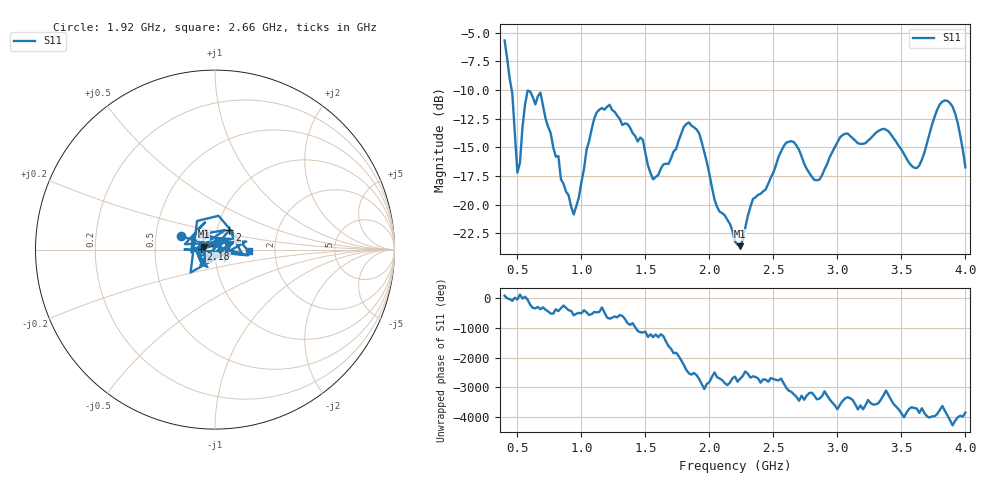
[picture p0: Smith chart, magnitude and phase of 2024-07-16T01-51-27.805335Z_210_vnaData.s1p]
!Created with skrf (http://scikit-rf.org).
# Hz S RI R 50.0
!freq ReS11 ImS11
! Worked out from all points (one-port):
!   181 points, 400 MHz to 4 GHz, reference 50 ohm
!   lowest |S11| = -23.6 dB at 2.24 GHz (marker M1), VSWR 1.14, Z = 44 + j1.43 ohm
!   |S11| at or under -10 dB: 455.5 MHz to end of sweep
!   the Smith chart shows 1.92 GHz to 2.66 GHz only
!   S11 on the Smith chart (normalised r, x): 1.92 GHz: 0.67, +0.10; 2 GHz: 1.14, +0.26; 2.18 GHz: 0.86, +0.00; 2.66 GHz: 1.46, -0.03
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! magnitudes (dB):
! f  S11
! 400 MHz  -5.7
! 460 MHz  -10.3
! 500 MHz  -17.2
! 580 MHz  -10.0
! 680 MHz  -10.2
! 860 MHz  -18.2
! 940 MHz  -20.8
! 1.12 GHz  -12.0
! 1.3 GHz  -12.5
! 1.48 GHz  -14.3
! 1.56 GHz  -17.8
! 1.76 GHz  -14.4
! 1.84 GHz  -12.8
! 1.92 GHz  -13.8
! 2 GHz  -17.3
! 2.18 GHz  -22.3
! 2.2 GHz  -23.2
! 2.24 GHz  -23.6
! 2.34 GHz  -19.5
! 2.66 GHz  -14.5
! 2.84 GHz  -17.9
! 3.1 GHz  -14.0
! 3.38 GHz  -13.5
! 3.56 GHz  -16.3
! 3.64 GHz  -16.6
! 3.84 GHz  -10.9
! 3.92 GHz  -12.0
! 4 GHz  -16.7
